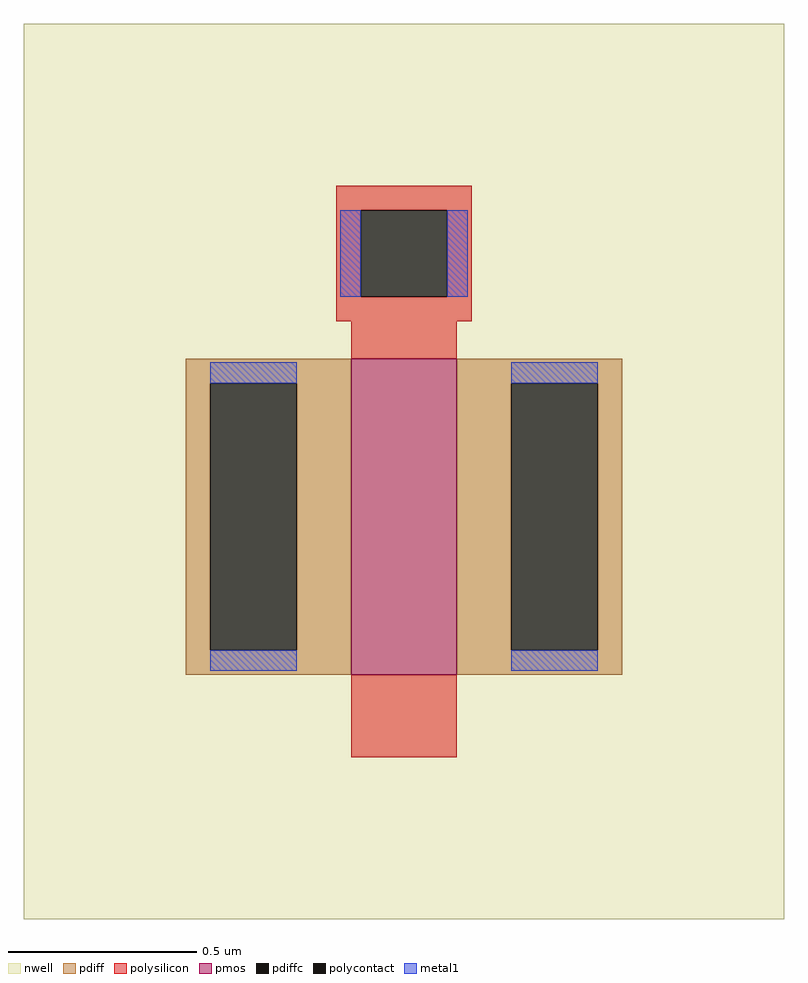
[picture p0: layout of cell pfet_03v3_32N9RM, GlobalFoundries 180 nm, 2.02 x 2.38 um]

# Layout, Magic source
magic
tech gf180mcuD
magscale 1 10
<< nwell >>
rect -202 -238 202 238
<< pmos >>
rect -28 -108 28 60
<< pdiff >>
rect -116 47 -28 60
rect -116 -95 -103 47
rect -57 -95 -28 47
rect -116 -108 -28 -95
rect 28 47 116 60
rect 28 -95 57 47
rect 103 -95 116 47
rect 28 -108 116 -95
<< pdiffc >>
rect -103 -95 -57 47
rect 57 -95 103 47
<< polysilicon >>
rect -36 139 36 152
rect -36 93 -23 139
rect 23 93 36 139
rect -36 80 36 93
rect -28 60 28 80
rect -28 -152 28 -108
<< polycontact >>
rect -23 93 23 139
<< metal1 >>
rect -34 93 -23 139
rect 23 93 34 139
rect -103 47 -57 58
rect -103 -106 -57 -95
rect 57 47 103 58
rect 57 -106 103 -95
<< properties >>
string gencell pfet_03v3
string library gf180mcu
string parameters w 0.840 l 0.28 m 1 nf 1 diffcov 100 polycov 100 guard 0 glc 0 grc 0 gtc 0 gbc 0 tbcov 100 rlcov 100 topc 1 botc 0 poverlap 0 doverlap 1 lmin 0.28 wmin 0.22 class mosfet full_metal 0 compatible {pfet_03v3 pfet_06v0}
<< end >>
